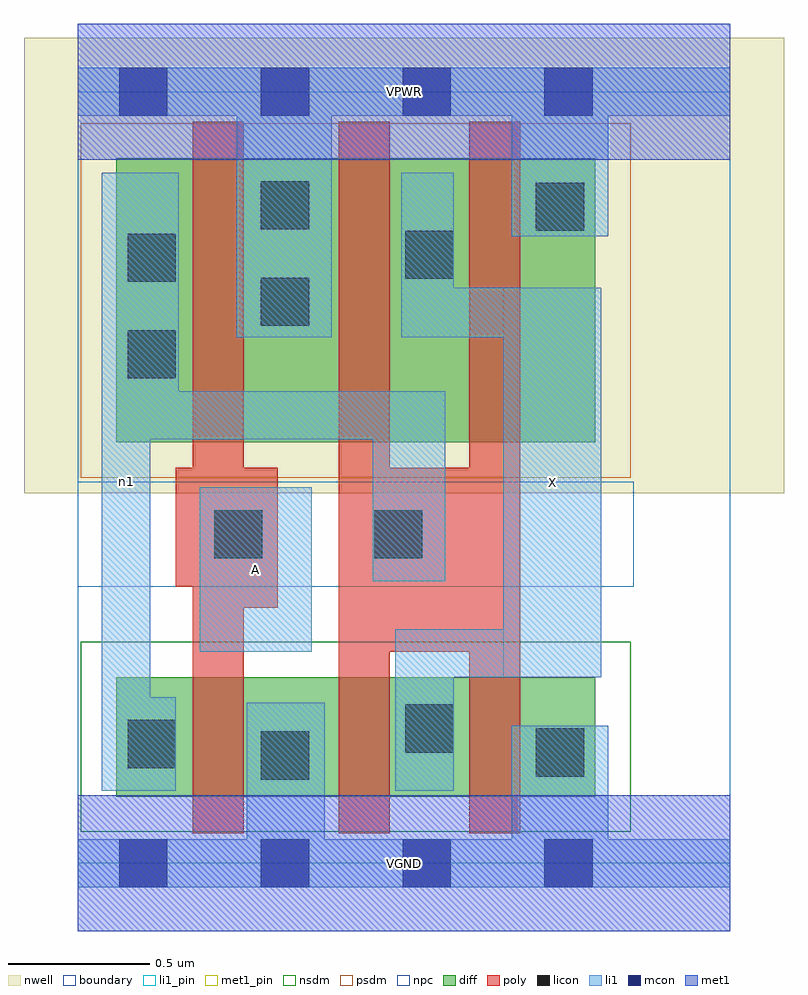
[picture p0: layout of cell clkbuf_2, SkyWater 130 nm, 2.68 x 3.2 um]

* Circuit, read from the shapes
.subckt clkbuf_2 A VGND VPWR X n1
XM1 VGND A n1 VSUBS sky130_fd_pr__nfet_01v8 w=0.42 l=0.18
XM2 X n1 VGND VSUBS sky130_fd_pr__nfet_01v8 w=0.42 l=0.18 m=2
XM3 VPWR A n1 n2 sky130_fd_pr__pfet_01v8 w=1 l=0.18
XM4 X n1 VPWR n2 sky130_fd_pr__pfet_01v8 w=1 l=0.18 m=2
.ends

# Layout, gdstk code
import gdstk
lib = gdstk.Library(unit=1e-6, precision=1e-09)
def R(c, l, rs):  # rectangles x0, y0, x1, y1
    for r in rs: c.add(gdstk.rectangle(r[:2], r[2:], *l))
def A(c, l, x, y, w, h, nx, ny, dx, dy):  # array of equal rectangles
    R(c, l, [(x+i*dx, y+j*dy, x+i*dx+w, y+j*dy+h) for i in range(nx) for j in range(ny)])
nwell = (64, 20)
diff = (65, 20)
poly = (66, 20)
licon = (66, 44)
li1_pin = (67, 16)
li1 = (67, 20)
mcon = (67, 44)
met1_pin = (68, 16)
met1 = (68, 20)
nsdm = (93, 44)
psdm = (94, 20)
npc = (95, 20)
boundary = (235, 4)

clkbuf_2 = lib.new_cell('clkbuf_2')
R(clkbuf_2, nwell, [(-0.19,1.305,2.49,2.91), (0,1.305,2.3,2.91)])
R(clkbuf_2, diff, [(0.135,0.235,1.825,0.655), (0.135,1.485,1.825,2.485)])
R(clkbuf_2, poly, [(0.405,0.105,0.585,2.615), (0.92,0.105,1.1,2.615), (1.38,0.105,1.56,2.615), (0.92,0.745,1.56,1.395), (0.405,0.9,0.705,1.395), (0.345,0.975,0.705,1.395)])
R(clkbuf_2, licon, [(0.645,0.295,0.815,0.465), (1.615,0.305,1.785,0.475), (0.175,0.335,0.345,0.505), (1.155,0.39,1.325,0.56), (0.48,1.075,0.65,1.245), (1.045,1.075,1.215,1.245), (0.175,1.71,0.345,1.88), (0.645,1.895,0.815,2.065), (0.175,2.05,0.345,2.22), (1.155,2.06,1.325,2.23), (1.615,2.23,1.785,2.4), (0.645,2.235,0.815,2.405)])
R(clkbuf_2, li1_pin, [(1.5,0.655,1.845,2.03), (0.43,0.745,0.825,1.325)])
R(clkbuf_2, li1, [(0,-0.085,2.3,0.085), (0.595,-0.085,0.87,0.565), (1.53,-0.085,1.87,0.485), (0.085,0.255,0.255,2.435), (0.085,0.255,0.345,0.585), (1.12,0.255,1.325,0.825), (1.12,0.655,1.845,0.825), (1.5,0.655,1.845,2.03), (0.43,0.745,0.825,1.325), (1.04,0.995,1.295,1.665), (0.085,1.495,1.295,1.665), (0.085,1.495,0.355,2.435), (0.56,1.855,0.895,2.805), (1.14,1.855,1.325,2.435), (1.14,1.855,1.845,2.03), (1.53,2.21,1.87,2.805), (0,2.635,2.3,2.805)])
A(clkbuf_2, mcon, 0.145, -0.085, 0.17, 0.17, 4, 2, 0.5, 2.72)
R(clkbuf_2, met1_pin, [(0,-0.24,2.3,0.24), (0,2.48,2.3,2.96)])
R(clkbuf_2, met1, [(0,-0.24,2.3,0.24), (0,2.48,2.3,2.96)])
R(clkbuf_2, nsdm, [(0.01,0.11,1.95,0.78)])
R(clkbuf_2, psdm, [(0.01,1.36,1.95,2.61)])
R(clkbuf_2, npc, [(0,0.975,1.96,1.345)])
R(clkbuf_2, boundary, [(0,0,2.3,2.72)])
clkbuf_2.add(gdstk.Label('A', (0.627,1.035), layer=67, texttype=5))
clkbuf_2.add(gdstk.Label('X', (1.672,1.342), layer=67, texttype=5))
clkbuf_2.add(gdstk.Label('n1', (0.17,1.345), layer=67, texttype=5))
clkbuf_2.add(gdstk.Label('VPWR', (1.15,2.72), layer=68, texttype=5))
clkbuf_2.add(gdstk.Label('VGND', (1.15,0), layer=68, texttype=5))
clkbuf_2.add(gdstk.Label('A', (0.627,1.035), layer=67, texttype=16))
clkbuf_2.add(gdstk.Label('X', (1.672,1.342), layer=67, texttype=16))
clkbuf_2.add(gdstk.Label('VPWR', (1.15,2.72), layer=68, texttype=16))
clkbuf_2.add(gdstk.Label('VGND', (1.15,0), layer=68, texttype=16))

lib.write_gds('clkbuf_2.gds')
